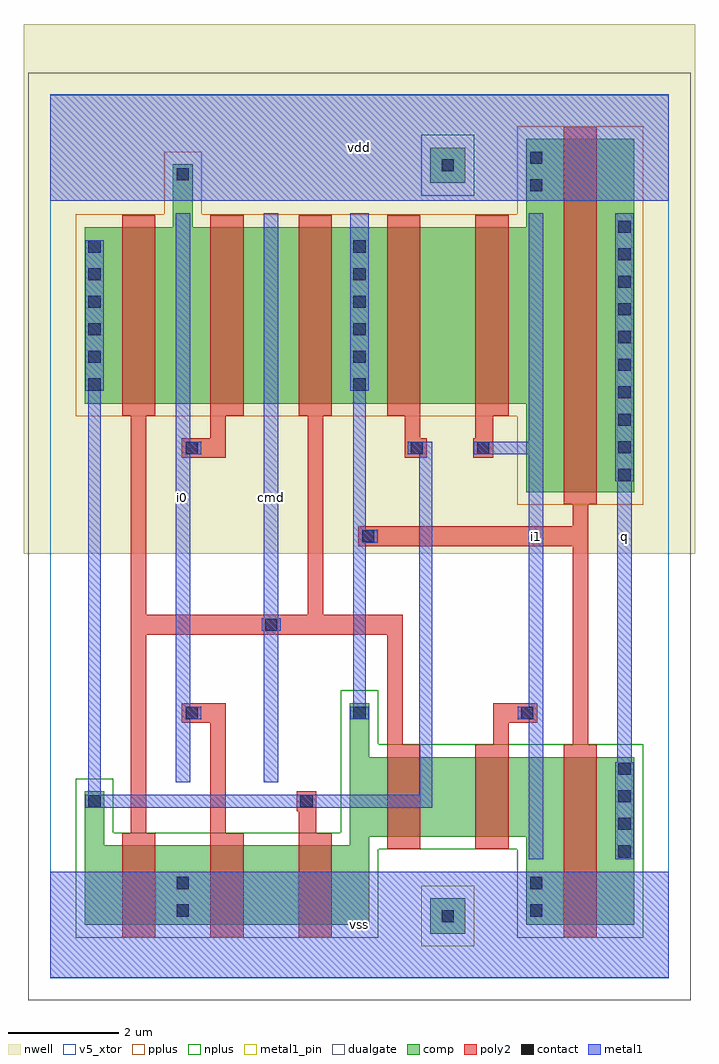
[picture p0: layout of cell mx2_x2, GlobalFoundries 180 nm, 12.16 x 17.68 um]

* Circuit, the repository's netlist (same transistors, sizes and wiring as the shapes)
* mx2_x2
.subckt mx2_x2 vdd q vss cmd i0 i1
Mp_net1_1 vdd _net1 q vdd pfet_06v0 l=0.6um w=6.4um
Mn_net1_1 vss _net1 q vss nfet_06v0 l=0.6um w=3.04um
Mp_net5_1 _net1 _net5 _net4 vdd pfet_06v0 l=0.6um w=3.2um
Mn_net5_1 _net2 _net5 _net1 vss nfet_06v0 l=0.6um w=1.44um
Mp_cmd_1 _net5 cmd vdd vdd pfet_06v0 l=0.6um w=3.2um
Mp_cmd_2 _net3 cmd _net1 vdd pfet_06v0 l=0.6um w=3.2um
Mn_cmd_1 _net5 cmd vss vss nfet_06v0 l=0.6um w=1.44um
Mn_cmd_2 _net1 cmd _net0 vss nfet_06v0 l=0.6um w=1.44um
Mn_i0_1 vss i0 _net2 vss nfet_06v0 l=0.6um w=1.44um
Mp_i0_1 vdd i0 _net3 vdd pfet_06v0 l=0.6um w=3.2um
Mp_i1_1 _net4 i1 vdd vdd pfet_06v0 l=0.6um w=3.2um
Mn_i1_1 _net0 i1 vss vss nfet_06v0 l=0.6um w=1.44um
.ends mx2_x2

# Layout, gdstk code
import gdstk
lib = gdstk.Library(unit=1e-6, precision=1e-09)
def R(c, l, rs):  # rectangles x0, y0, x1, y1
    for r in rs: c.add(gdstk.rectangle(r[:2], r[2:], *l))
def A(c, l, x, y, w, h, nx, ny, dx, dy):  # array of equal rectangles
    R(c, l, [(x+i*dx, y+j*dy, x+i*dx+w, y+j*dy+h) for i in range(nx) for j in range(ny)])
def P(c, l, *ps):  # polygons
    for p in ps: c.add(gdstk.Polygon(p, *l))
nwell = (21, 0)
comp = (22, 0)
poly2 = (30, 0)
pplus = (31, 0)
nplus = (32, 0)
contact = (33, 0)
metal1 = (34, 0)
metal1_pin = (34, 10)
dualgate = (55, 0)
v5_xtor = (112, 1)

mx2_x2 = lib.new_cell('mx2_x2')
R(mx2_x2, nwell, [(-0.48,7.68,11.68,17.28)])
R(mx2_x2, comp, [(6.88,0.8,7.52,1.44), (6.88,14.4,7.52,15.04)])
P(mx2_x2, comp, [(8.62,8.8),(8.62,10.4),(0.62,10.4),(0.62,13.6),(2.22,13.6),(2.22,14.74),(2.58,14.74),(2.58,13.6),(8.62,13.6),(8.62,15.2),(10.58,15.2),(10.58,8.8)],
  [(0.62,0.96),(0.62,3.38),(0.98,3.38),(0.98,2.4),(5.42,2.4),(5.42,4.98),(5.78,4.98),(5.78,4),(10.58,4),(10.58,0.96),(8.62,0.96),(8.62,2.56),(5.78,2.56),(5.78,0.96)])
P(mx2_x2, poly2, [(9.3,0.74),(9.3,4.22),(9.46,4.22),(9.46,7.82),(5.58,7.82),(5.58,8.18),(9.46,8.18),(9.46,8.58),(9.3,8.58),(9.3,15.42),(9.9,15.42),(9.9,8.58),(9.74,8.58),(9.74,4.22),(9.9,4.22),(9.9,0.74)],
  [(6.42,9.42),(6.42,10.18),(6.1,10.18),(6.1,13.82),(6.7,13.82),(6.7,9.78),(6.82,9.78),(6.82,9.42)],
  [(4.5,0.74),(4.5,3.02),(4.46,3.02),(4.46,3.38),(4.82,3.38),(4.82,2.62),(5.1,2.62),(5.1,0.74)],
  [(1.3,0.74),(1.3,2.62),(1.46,2.62),(1.46,10.18),(1.3,10.18),(1.3,13.82),(1.9,13.82),(1.9,10.18),(1.74,10.18),(1.74,6.58),(4.66,6.58),(4.66,10.18),(4.5,10.18),(4.5,13.82),(5.1,13.82),(5.1,10.18),(4.94,10.18),(4.94,6.58),(6.38,6.58),(6.38,4.22),(6.7,4.22),(6.7,2.34),(6.1,2.34),(6.1,6.22),(1.74,6.22),(1.74,2.62),(1.9,2.62),(1.9,0.74)],
  [(2.9,0.74),(2.9,4.62),(2.38,4.62),(2.38,4.98),(3.18,4.98),(3.18,2.62),(3.5,2.62),(3.5,0.74)],
  [(2.38,9.42),(2.38,9.78),(2.9,9.78),(2.9,13.82),(3.5,13.82),(3.5,10.18),(3.18,10.18),(3.18,9.42)],
  [(7.7,2.34),(7.7,4.22),(8.02,4.22),(8.02,4.98),(8.82,4.98),(8.82,4.62),(8.3,4.62),(8.3,2.34)],
  [(7.66,9.42),(7.66,9.78),(7.7,9.78),(7.7,13.82),(8.3,13.82),(8.3,10.18),(8.02,10.18),(8.02,9.42)])
R(mx2_x2, pplus, [(6.72,0.57,7.68,1.67)])
P(mx2_x2, pplus, [(8.46,8.57),(8.46,10.17),(0.46,10.17),(0.46,13.83),(2.06,13.83),(2.06,14.97),(2.74,14.97),(2.74,13.83),(8.46,13.83),(8.46,15.43),(10.74,15.43),(10.74,8.57)])
R(mx2_x2, nplus, [(6.72,14.17,7.68,15.27)])
P(mx2_x2, nplus, [(0.46,0.73),(0.46,3.61),(1.14,3.61),(1.14,2.63),(5.26,2.63),(5.26,5.21),(5.94,5.21),(5.94,4.23),(10.74,4.23),(10.74,0.73),(8.46,0.73),(8.46,2.33),(5.94,2.33),(5.94,0.73)])
A(mx2_x2, contact, 10.29, 2.18, 0.22, 0.22, 1, 4, 0, 0.5)
A(mx2_x2, contact, 2.45, 4.69, 0.22, 0.22, 3, 1, 3.04, 0)
A(mx2_x2, contact, 10.29, 9, 0.22, 0.22, 1, 10, 0, 0.5)
A(mx2_x2, contact, 0.69, 10.64, 0.22, 0.22, 1, 6, 0, 0.5)
A(mx2_x2, contact, 5.49, 10.64, 0.22, 0.22, 1, 6, 0, 0.5)
R(mx2_x2, contact, [(7.09,1.01,7.31,1.23), (2.29,1.11,2.51,1.33), (8.69,1.11,8.91,1.33), (2.29,1.61,2.51,1.83), (8.69,1.61,8.91,1.83), (0.69,3.09,0.91,3.31), (4.53,3.09,4.75,3.31), (3.89,6.29,4.11,6.51), (5.65,7.89,5.87,8.11), (2.45,9.49,2.67,9.71), (6.53,9.49,6.75,9.71), (7.73,9.49,7.95,9.71), (8.69,14.25,8.91,14.47), (2.29,14.45,2.51,14.67), (7.09,14.61,7.31,14.83), (8.69,14.75,8.91,14.97)])
R(mx2_x2, metal1, [(0,0,11.2,1.92), (0,14.08,11.2,16)])
P(mx2_x2, metal1, [(10.23,2.15),(10.23,3.905),(10.27,3.905),(10.27,8.995),(10.23,8.995),(10.23,13.85),(10.57,13.85),(10.57,8.995),(10.53,8.995),(10.53,3.905),(10.57,3.905),(10.57,2.15)],
  [(5.43,4.685),(5.43,4.915),(5.485,4.915),(5.485,10.635),(5.43,10.635),(5.43,13.85),(5.77,13.85),(5.77,10.635),(5.715,10.635),(5.715,8.115),(5.93,8.115),(5.93,7.885),(5.715,7.885),(5.715,4.915),(5.77,4.915),(5.77,4.685)],
  [(0.63,3.085),(0.63,3.315),(0.685,3.315),(0.685,10.635),(0.63,10.635),(0.63,13.365),(0.97,13.365),(0.97,10.635),(0.915,10.635),(0.915,3.315),(6.685,3.315),(6.685,9.485),(6.47,9.485),(6.47,9.715),(6.915,9.715),(6.915,3.085)],
  [(3.87,3.545),(3.87,6.285),(3.83,6.285),(3.83,6.515),(3.87,6.515),(3.87,13.85),(4.13,13.85),(4.13,6.515),(4.17,6.515),(4.17,6.285),(4.13,6.285),(4.13,3.545)],
  [(2.27,3.545),(2.27,13.85),(2.53,13.85),(2.53,9.715),(2.73,9.715),(2.73,9.485),(2.53,9.485),(2.53,4.915),(2.73,4.915),(2.73,4.685),(2.53,4.685),(2.53,3.545)],
  [(8.67,2.15),(8.67,4.685),(8.47,4.685),(8.47,4.915),(8.67,4.915),(8.67,9.485),(7.67,9.485),(7.67,9.715),(8.67,9.715),(8.67,13.85),(8.93,13.85),(8.93,2.15)])
R(mx2_x2, metal1_pin, [(0,0,11.2,1.92), (8.67,2.15,8.93,13.85), (10.27,2.15,10.53,13.85), (2.27,3.545,2.53,13.85), (3.87,3.545,4.13,13.85), (0,14.08,11.2,16)])
R(mx2_x2, dualgate, [(-0.4,-0.4,11.6,16.4)])
R(mx2_x2, v5_xtor, [(-0.005,-0.005,11.205,16.005)])
mx2_x2.add(gdstk.Label('vdd', (5.6,15.04), layer=34, texttype=10))
mx2_x2.add(gdstk.Label('q', (10.4,8), layer=34, texttype=10))
mx2_x2.add(gdstk.Label('vss', (5.6,0.96), layer=34, texttype=10))
mx2_x2.add(gdstk.Label('cmd', (4,8.698), layer=34, texttype=10))
mx2_x2.add(gdstk.Label('i0', (2.4,8.698), layer=34, texttype=10))
mx2_x2.add(gdstk.Label('i1', (8.8,8), layer=34, texttype=10))

lib.write_gds('mx2_x2.gds')
